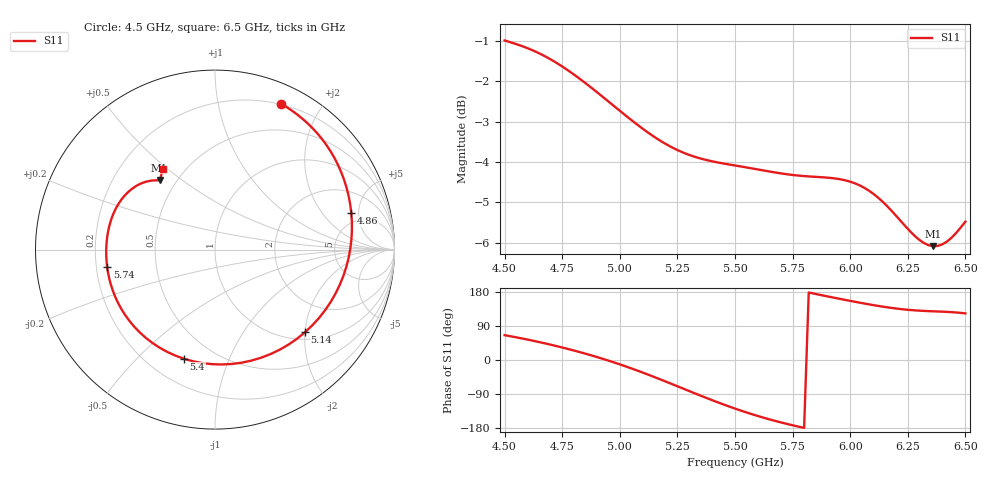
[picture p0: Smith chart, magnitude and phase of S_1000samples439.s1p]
! TOUCHSTONE file generated by CST MICROWAVE STUDIO
! Date and time: Fri Oct 28 04:32:52 2022
! Project name: L.cst
! Parameters = {Di=1.27; Epsilon_r=1.56; InnerDiameter=1.27; Length=2; Lf=10; Lg=60; OuterConductorThickness=0.2921; OuterDiameter=3.6; Wf=3; Wp=41.2; de=1.5; df=6.8; g=0.8; gx=3.43684; gy=0.504023; h=2.34; hf=1.524; px=11.8049; py=9.55785; w=9.7; wx=8.36803; wy=9.05382}
! Header version: 2018
! Port assignment regex: !\s*Touchstone port\s*([0-9]+)\s*=\s*(CST MWS port|CST DS port)\s*([0-9]+|Zmin|Zmax)\s*\(\"(.*)\"\)(\s*mode\s*([0-9]+))?.*
! Touchstone port assignment:
! Touchstone port 1 = CST MWS port 1 ("")
# GHz S DB R 50
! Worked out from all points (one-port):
!   101 points, 4.5 GHz to 6.5 GHz, reference 50 ohm
!   lowest |S11| = -6.1 dB at 6.36 GHz (marker M1), VSWR 2.97, Z = 20.2 + j20.8 ohm
!   |S11| at or under -10 dB: nowhere
!   S11 on the Smith chart (normalised r, x): 4.5 GHz: 0.19, +1.54; 4.86 GHz: 3.82, +4.10; 5.14 GHz: 1.16, -2.00; 5.4 GHz: 0.34, -0.70; 5.74 GHz: 0.24, -0.08; 6.5 GHz: 0.38, +0.48
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4.5  -0.99 65.5
4.62  -1.23 51.3
4.68  -1.40 43.2
4.76  -1.67 31.5
4.86  -2.09 15.1
4.94  -2.45 0.4
5  -2.73 -11.5
5.06  -3.00 -24.3
5.14  -3.34 -42.6
5.2  -3.56 -57.0
5.26  -3.73 -71.8
5.32  -3.86 -86.6
5.4  -3.98 -105.8
5.46  -4.05 -119.5
5.5  -4.09 -128.2
5.56  -4.14 -140.4
5.62  -4.20 -151.5
5.68  -4.26 -161.6
5.74  -4.31 -170.8
5.76  -4.33 -173.7
5.88  -4.38 170.5
6  -4.49 156.0
6.08  -4.70 147.0
6.14  -4.98 140.9
6.26  -5.71 132.0
6.36  -6.08 128.5
6.44  -5.87 126.2
6.5  -5.48 123.0
